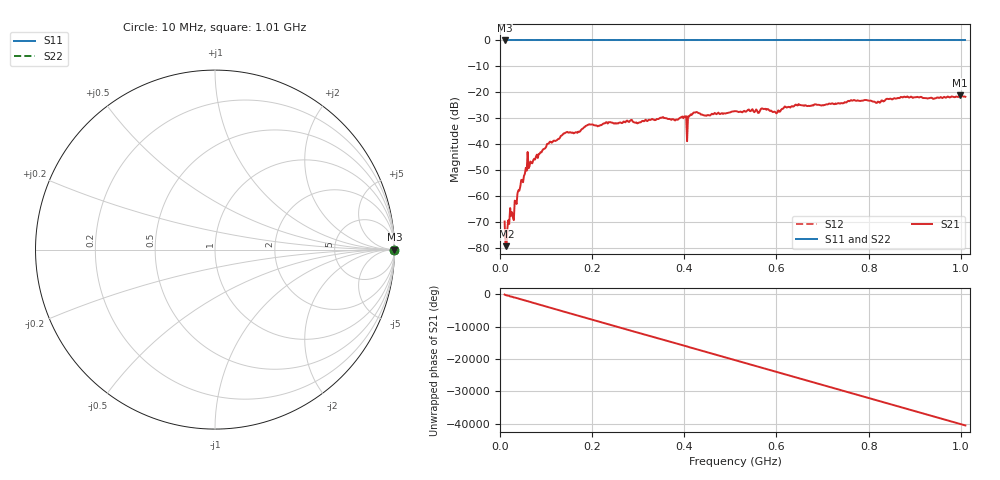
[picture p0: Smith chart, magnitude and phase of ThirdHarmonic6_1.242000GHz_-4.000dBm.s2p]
! 8/16/2025 1:12:01 PM
! C:\ANRITSUVNA\TEMP\TEMP.S2P
! CHANNEL.1
! TR.MEASUREMENT
! RAW.DATA
! RF.CORRECTION.OFF
! AVERAGING.OFF
! IF.BANDWIDTH: 5KHZ
! SWEEPTYPE:  FREQ.SWEEP(Linear)
! Reference Plane Port Info
! PORT:  PORT1  PORT2
! DISTANCE:  0  m  0  m
! TIME:  0  s  0  s
! PHASE.OFFSET:  0  deg.  0  deg.
! LOSS:  0  dB  0  dB
! REF.LOSS:  0  dB  0  dB
! REF.FREQ:  0  Hz  0  Hz
! Power Info
! POWER:  -20  dBm  -20  dBm
! EFF.POWER:  -20  dBm  -20  dBm
! SOURCE.ATTEN:  0  dB  0  dB
! TEST.ATTEN:  0  dB  0  dB
# GHZ S RI R 50.0
! FREQ.GHZ  S11RE  S11IM  S21RE  S21IM  S12RE  S12IM  S22RE  S22IM
!; PortSelection: Port_12
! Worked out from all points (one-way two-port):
!   501 points, 10 MHz to 1.01 GHz, reference 50 ohm
!   highest |S21| = -21.18 dB at 998 MHz (marker M1); lowest = -79.2 dB at 14 MHz (marker M2)
!   lowest |S11| = 0.0 dB at 10 MHz (marker M3)
!   |S11| at or under -10 dB: nowhere
!   |S22| runs from 0.0 to 0.0 dB; largest |S21 - S12| = 1.1
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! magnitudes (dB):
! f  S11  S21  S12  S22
! 10 MHz  0.0  -69.7  0.0  0.0
! 14 MHz  0.0  -79.2  0.0  0.0
! 16 MHz  0.0  -72.4  0.0  0.0
! 22 MHz  0.0  -64.5  0.0  0.0
! 32 MHz  0.0  -61.7  0.0  0.0
! 36 MHz  0.0  -63.0  0.0  0.0
! 56 MHz  0.0  -49.1  0.0  0.0
! 64 MHz  0.0  -48.5  0.0  0.0
! 106 MHz  0.0  -39.6  0.0  0.0
! 178 MHz  0.0  -34.1  0.0  0.0
! 194 MHz  0.0  -32.2  0.0  0.0
! 344 MHz  0.0  -30.2  0.0  0.0
! 400 MHz  0.0  -29.2  0.0  0.0
! 402 MHz  0.0  -29.3  0.0  0.0
! 424 MHz  0.0  -27.8  0.0  0.0
! 510 MHz  0.0  -27.2  0.0  0.0
! 598 MHz  0.0  -27.7  0.0  0.0
! 644 MHz  0.0  -24.9  0.0  0.0
! 678 MHz  0.0  -24.9  0.0  0.0
! 844 MHz  0.0  -22.6  0.0  0.0
! 998 MHz  0.0  -21.2  0.0  0.0
! 1.01 GHz  0.0  -21.7  0.0  0.0
